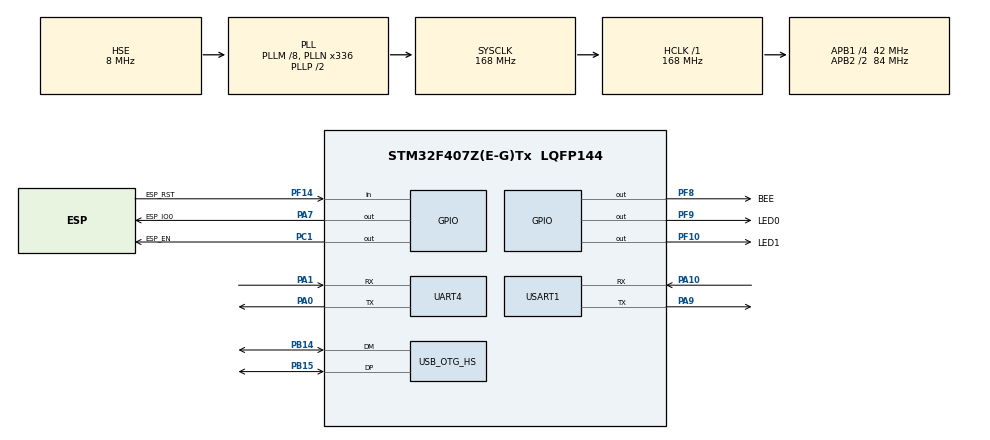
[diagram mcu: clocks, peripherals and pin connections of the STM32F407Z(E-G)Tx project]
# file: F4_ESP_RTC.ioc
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Mcu.Family=STM32F4
Mcu.Name=STM32F407Z(E-G)Tx
Mcu.Package=LQFP144
NVIC.OTG_HS_IRQn=true\:0\:0\:false\:false\:true\:false\:true
NVIC.PriorityGroup=NVIC_PRIORITYGROUP_4
NVIC.RTC_Alarm_IRQn=true\:0\:0\:false\:false\:true\:true\:true
NVIC.TIM8_TRG_COM_TIM14_IRQn=true\:0\:0\:false\:false\:true\:true\:true
NVIC.UART4_IRQn=true\:0\:0\:false\:false\:true\:true\:true
PA0-WKUP.Mode=Asynchronous
PA0-WKUP.Signal=UART4_TX
PA1.Mode=Asynchronous
PA1.Signal=UART4_RX
PA10.Mode=Asynchronous
PA10.Signal=USART1_RX
PA13.Mode=Serial_Wire
PA13.Signal=SYS_JTMS-SWDIO
PA14.Mode=Serial_Wire
PA14.Signal=SYS_JTCK-SWCLK
PA7.GPIO_Label=ESP_IO0
PA7.GPIO_PuPd=GPIO_PULLUP
PA7.PinState=GPIO_PIN_SET
PA7.Signal=GPIO_Output
PA9.Mode=Asynchronous
PA9.Signal=USART1_TX
PB14.Mode=Device_Only_FS
PB14.Signal=USB_OTG_HS_DM
PB15.Mode=Device_Only_FS
PB15.Signal=USB_OTG_HS_DP
PC1.GPIO_Label=ESP_EN
PC1.PinState=GPIO_PIN_SET
PC1.Signal=GPIO_Output
PC14-OSC32_IN.Mode=LSE-External-Oscillator
PC14-OSC32_IN.Signal=RCC_OSC32_IN
PC15-OSC32_OUT.Mode=LSE-External-Oscillator
PC15-OSC32_OUT.Signal=RCC_OSC32_OUT
PF10.GPIO_Label=LED1
PF10.Signal=GPIO_Output
PF14.GPIO_Label=ESP_RST
PF14.Signal=GPIO_Input
PF8.GPIO_Label=BEE
PF8.GPIO_Speed=GPIO_SPEED_FREQ_HIGH
PF8.Signal=GPIO_Output
PF9.GPIO_Label=LED0
PF9.Signal=GPIO_Output
PH0-OSC_IN.Mode=HSE-External-Oscillator
PH0-OSC_IN.Signal=RCC_OSC_IN
PH1-OSC_OUT.Mode=HSE-External-Oscillator
PH1-OSC_OUT.Signal=RCC_OSC_OUT
ProjectManager.HeapSize=0x1000
ProjectManager.StackSize=0x1000
ProjectManager.TargetToolchain=MDK-ARM V5
RCC.48MHZClocksFreq_Value=48000000
RCC.AHBFreq_Value=168000000
RCC.APB1CLKDivider=RCC_HCLK_DIV4
RCC.APB1Freq_Value=42000000
RCC.APB1TimFreq_Value=84000000
RCC.APB2CLKDivider=RCC_HCLK_DIV2
RCC.APB2Freq_Value=84000000
RCC.APB2TimFreq_Value=168000000
RCC.CortexFreq_Value=168000000
RCC.HCLKFreq_Value=168000000
RCC.HSE_VALUE=8000000
RCC.HSI_VALUE=16000000
RCC.PLLM=8
RCC.PLLN=336
RCC.PLLQ=7
RCC.RCC_RTC_Clock_Source=RCC_RTCCLKSOURCE_LSE
RCC.RCC_RTC_Clock_SourceVirtual=RCC_RTCCLKSOURCE_LSE
RCC.SYSCLKFreq_VALUE=168000000
RCC.SYSCLKSource=RCC_SYSCLKSOURCE_PLLCLK
RCC.VCOOutputFreq_Value=336000000
RTC.Alarm=RTC_ALARM_A
RTC.Date=9
RTC.Hours=23
RTC.Minutes=4
RTC.Month=RTC_MONTH_MAY
RTC.WeekDay=RTC_WEEKDAY_THURSDAY
RTC.Year=19
TIM14.Period=9999
TIM14.Prescaler=8399
UART4.VirtualMode=Asynchronous
USART1.VirtualMode=VM_ASYNC
USB_DEVICE.CLASS_NAME_HS=CDC
USB_DEVICE.VirtualMode-CDC_HS=Cdc
USB_DEVICE.VirtualModeHS=Cdc_HS
USB_OTG_HS.VirtualMode-Device_Only_FS=Device_Only_FS
VP_RTC_VS_RTC_Activate.Mode=RTC_Enabled
VP_RTC_VS_RTC_Alarm_A_Intern.Mode=Alarm A
VP_RTC_VS_RTC_Calendar.Mode=RTC_Calendar
VP_TIM14_VS_ClockSourceINT.Mode=Enable_Timer
VP_USB_DEVICE_VS_USB_DEVICE_CDC_HS.Mode=CDC_HS
board=custom

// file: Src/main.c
/* USER CODE BEGIN Header */
/**
  ******************************************************************************
  * @file           : main.c
  * @brief          : Main program body
  ******************************************************************************
  * @attention
  *
  * <h2><center>&copy; Copyright (c) 2019 STMicroelectronics.
  * All rights reserved.</center></h2>
  *
  * This software component is licensed by ST under Ultimate Liberty license
  * SLA0044, the "License"; You may not use this file except in compliance with
  * the License. You may obtain a copy of the License at:
  *                             www.st.com/SLA0044
  *
  ******************************************************************************
  */
/* USER CODE END Header */

#include "main.h"
#include "rtc.h"
#include "tim.h"
#include "usart.h"
#include "usb_device.h"
#include "gpio.h"

/* USER CODE BEGIN Includes */
#include "usbd_cdc_if.h"
#include "stm32f4xx_it.h"
// 蜂鸣器功能
#include "beep.h"
// ntp时间解析功能
#include "date.h"
/* USER CODE END Includes */

/* USER CODE BEGIN PV */
uint8_t ntp_buff[64];
ntpDate mNtpDate;
uint8_t mDebug1 = 0;

/* USER CODE END PV */

void SystemClock_Config(void);

int main(void)
{
    /* USER CODE BEGIN 1 */
    uint8_t fast_set = 0;
    uint8_t last_sec;
    uint8_t last_hour;
    uint16_t n = 0;

    /* USER CODE END 1 */

    /* MCU Configuration--------------------------------------------------------*/

    /* Reset of all peripherals, Initializes the Flash interface and the Systick. */
    HAL_Init();

    /* Configure the system clock */
    SystemClock_Config();

    /* Initialize all configured peripherals */
    MX_GPIO_Init();
    MX_USART1_UART_Init();
    MX_USB_DEVICE_Init();
    MX_UART4_Init();
    MX_RTC_Init();
    MX_TIM14_Init();
    /* USER CODE BEGIN 2 */
    HAL_TIM_Base_Start_IT(&htim14);
    __HAL_TIM_ENABLE_IT(&htim14, TIM_IT_UPDATE);
    ntp_buff[63] = 0;
    // 这段用来同步字节
    do
    {
        HAL_UART_Receive(&huart4, ntp_buff, 25, 100);
        printf("tme:%d\r\n", runTimeCount);
    }
    while(ntp_buff[24] != 0x0A && runTimeCount < 10);
    HAL_UART_Receive_IT(&huart4, ntp_buff, 25);

    /* USER CODE END 2 */

    /* Infinite loop */
    /* USER CODE BEGIN WHILE */
    while (1)
    {

        if(ntp_buff[63] == 1)
        {
            HAL_UART_Transmit(&huart4, ntp_buff, 25, 100);
            dateAnalysis(ntp_buff, &mNtpDate);					// 拆分所有字符串 分段
            resultDate(&mNtpDate);							// 字符串解析为整形，填入结构体
            if(mDebug1) printf("%d-%d-%d %d:%d:%d week=%d\r\n", mNtpDate.year, mNtpDate.month, mNtpDate.day, \
                                   mNtpDate.hour, mNtpDate.min, mNtpDate.sec, mNtpDate.week);
            CDC_Transmit_HS(ntp_buff, 25);
            if(last_hour != stimestructure.Hours)
            {
                fast_set = 0;
                last_hour = stimestructure.Hours;
            }
            if(fast_set == 0 && mNtpDate.year >= 2019)
            {
                fast_set = 1;
                SetTimeInit(mNtpDate);

            }
            ntp_buff[63] = 0;
            Get_RTC();
            if(mDebug1) printf("%d-%d-%d %d:%d:%d week=%d\r\n", sdatestructure.Year, sdatestructure.Month, \
                                   sdatestructure.Date, stimestructure.Hours, stimestructure.Minutes, stimestructure.Seconds, \
                                   sdatestructure.WeekDay);
        }
        else if (ntp_buff[63] == 2)
        {
            syncNtp(ntp_buff);
            ntp_buff[63] = 0;
        }
        HAL_GPIO_TogglePin(LED0_GPIO_Port, LED0_Pin);
        Get_RTC();
        if(last_sec != stimestructure.Seconds)
        {
            printf("20%d-%d-%d %02d:%02d:%02d week=%d\r", sdatestructure.Year, sdatestructure.Month, \
                   sdatestructure.Date, stimestructure.Hours, stimestructure.Minutes, stimestructure.Seconds, \
                   sdatestructure.WeekDay);
            last_sec = stimestructure.Seconds;
        }
        n++;
        if(n >= 100) {
          beep_blink(0);
          n=0;
        }
        else if(n >= 50) beep_blink(1);
        HAL_Delay(100);
        /* USER CODE END WHILE */

    }
}

void SystemClock_Config(void)
{
    RCC_OscInitTypeDef RCC_OscInitStruct = {0};
    RCC_ClkInitTypeDef RCC_ClkInitStruct = {0};
    RCC_PeriphCLKInitTypeDef PeriphClkInitStruct = {0};

    /** Configure the main internal regulator output voltage
    */
    __HAL_RCC_PWR_CLK_ENABLE();
    __HAL_PWR_VOLTAGESCALING_CONFIG(PWR_REGULATOR_VOLTAGE_SCALE1);
    /** Initializes the CPU, AHB and APB busses clocks
    */
    RCC_OscInitStruct.OscillatorType = RCC_OSCILLATORTYPE_HSE | RCC_OSCILLATORTYPE_LSE;
    RCC_OscInitStruct.HSEState = RCC_HSE_ON;
    RCC_OscInitStruct.LSEState = RCC_LSE_ON;
    RCC_OscInitStruct.PLL.PLLState = RCC_PLL_ON;
    RCC_OscInitStruct.PLL.PLLSource = RCC_PLLSOURCE_HSE;
    RCC_OscInitStruct.PLL.PLLM = 8;
    RCC_OscInitStruct.PLL.PLLN = 336;
    RCC_OscInitStruct.PLL.PLLP = RCC_PLLP_DIV2;
    RCC_OscInitStruct.PLL.PLLQ = 7;
    if (HAL_RCC_OscConfig(&RCC_OscInitStruct) != HAL_OK)
    {
        Error_Handler();
    }
    /** Initializes the CPU, AHB and APB busses clocks
    */
    RCC_ClkInitStruct.ClockType = RCC_CLOCKTYPE_HCLK | RCC_CLOCKTYPE_SYSCLK
                                  | RCC_CLOCKTYPE_PCLK1 | RCC_CLOCKTYPE_PCLK2;
    RCC_ClkInitStruct.SYSCLKSource = RCC_SYSCLKSOURCE_PLLCLK;
    RCC_ClkInitStruct.AHBCLKDivider = RCC_SYSCLK_DIV1;
    RCC_ClkInitStruct.APB1CLKDivider = RCC_HCLK_DIV4;
    RCC_ClkInitStruct.APB2CLKDivider = RCC_HCLK_DIV2;

    if (HAL_RCC_ClockConfig(&RCC_ClkInitStruct, FLASH_LATENCY_5) != HAL_OK)
    {
        Error_Handler();
    }
    PeriphClkInitStruct.PeriphClockSelection = RCC_PERIPHCLK_RTC;
    PeriphClkInitStruct.RTCClockSelection = RCC_RTCCLKSOURCE_LSE;
    if (HAL_RCCEx_PeriphCLKConfig(&PeriphClkInitStruct) != HAL_OK)
    {
        Error_Handler();
    }
}

/* USER CODE BEGIN 4 */
void HAL_UART_RxCpltCallback(UART_HandleTypeDef *huart)
{
    if(huart->Instance == UART4)
    {
        if(ntp_buff[24] == 0x0A)
        {
            // 同步成功
            ntp_buff[63] = 1;
            HAL_UART_Receive_IT(&huart4, ntp_buff, 25);
        }
        else
        {
            // 同步失败 需要重新同步
            ntp_buff[63] = 2;
            //			HAL_UART_Receive_IT(&huart4,ntp_buff,25);
        }
    }
}

/* USER CODE END 4 */

void Error_Handler(void)
{
}

/************************ (C) COPYRIGHT STMicroelectronics *****END OF FILE****/
